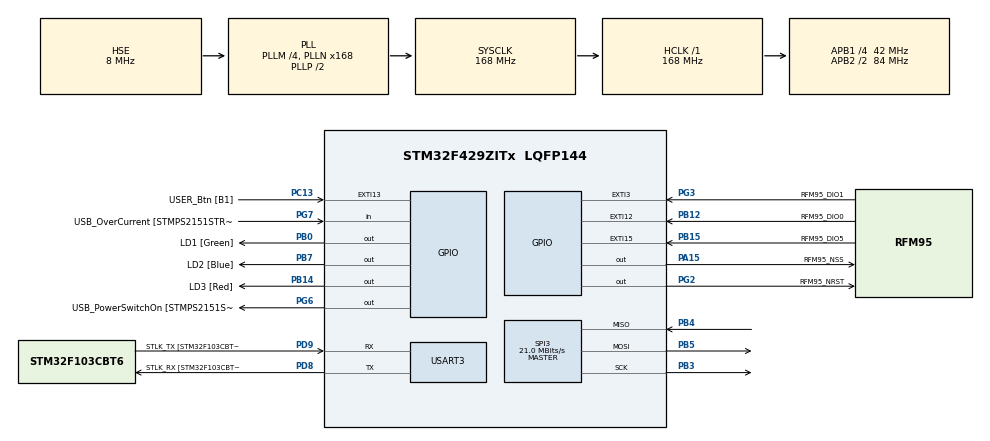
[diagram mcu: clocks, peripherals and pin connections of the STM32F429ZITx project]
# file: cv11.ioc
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Mcu.Family=STM32F4
Mcu.Name=STM32F429ZITx
Mcu.Package=LQFP144
NVIC.EXTI15_10_IRQn=true\:0\:0\:false\:false\:true\:true\:true\:true
NVIC.EXTI3_IRQn=true\:0\:0\:false\:false\:true\:true\:true\:true
NVIC.PriorityGroup=NVIC_PRIORITYGROUP_4
PA1.GPIO_Label=RMII_REF_CLK [LAN8742A-CZ-TR_REFCLK0]
PA1.Signal=ETH_REF_CLK
PA10.GPIO_Label=USB_ID
PA10.Signal=USB_OTG_FS_ID
PA11.GPIO_Label=USB_DM
PA11.Signal=USB_OTG_FS_DM
PA12.GPIO_Label=USB_DP
PA12.Signal=USB_OTG_FS_DP
PA13.GPIO_Label=TMS
PA13.Mode=Serial_Wire
PA13.Signal=SYS_JTMS-SWDIO
PA14.GPIO_Label=TCK
PA14.Mode=Serial_Wire
PA14.Signal=SYS_JTCK-SWCLK
PA15.GPIO_Label=RFM95_NSS
PA15.Signal=GPIO_Output
PA2.GPIO_Label=RMII_MDIO [LAN8742A-CZ-TR_MDIO]
PA2.Signal=ETH_MDIO
PA7.GPIO_Label=RMII_CRS_DV [LAN8742A-CZ-TR_CRS_DV]
PA7.Signal=ETH_CRS_DV
PA8.GPIO_Label=USB_SOF [TP1]
PA8.Signal=USB_OTG_FS_SOF
PA9.GPIO_Label=USB_VBUS
PA9.Signal=USB_OTG_FS_VBUS
PB0.GPIO_Label=LD1 [Green]
PB0.Signal=GPIO_Output
PB12.GPIO_Label=RFM95_DIO0
PB12.Signal=GPXTI12
PB13.GPIO_Label=RMII_TXD1 [LAN8742A-CZ-TR_TXD1]
PB13.Signal=ETH_TXD1
PB14.GPIO_Label=LD3 [Red]
PB14.Signal=GPIO_Output
PB15.GPIO_Label=RFM95_DIO5
PB15.Signal=GPXTI15
PB3.Mode=Full_Duplex_Master
PB3.Signal=SPI3_SCK
PB4.Mode=Full_Duplex_Master
PB4.Signal=SPI3_MISO
PB5.Mode=Full_Duplex_Master
PB5.Signal=SPI3_MOSI
PB7.GPIO_Label=LD2 [Blue]
PB7.Signal=GPIO_Output
PC1.GPIO_Label=RMII_MDC [LAN8742A-CZ-TR_MDC]
PC1.Signal=ETH_MDC
PC13.GPIO_Label=USER_Btn [B1]
PC13.Signal=GPXTI13
PC14/OSC32_IN.Mode=LSE-External-Oscillator
PC14/OSC32_IN.Signal=RCC_OSC32_IN
PC15/OSC32_OUT.Mode=LSE-External-Oscillator
PC15/OSC32_OUT.Signal=RCC_OSC32_OUT
PC4.GPIO_Label=RMII_RXD0 [LAN8742A-CZ-TR_RXD0]
PC4.Signal=ETH_RXD0
PC5.GPIO_Label=RMII_RXD1 [LAN8742A-CZ-TR_RXD1]
PC5.Signal=ETH_RXD1
PD8.GPIO_Label=STLK_RX [STM32F103CBT6_PA3]
PD8.Mode=Asynchronous
PD8.Signal=USART3_TX
PD9.GPIO_Label=STLK_TX [STM32F103CBT6_PA2]
PD9.Mode=Asynchronous
PD9.Signal=USART3_RX
PG11.GPIO_Label=RMII_TX_EN [LAN8742A-CZ-TR_TXEN]
PG11.Signal=ETH_TX_EN
PG13.GPIO_Label=RMII_TXD0 [LAN8742A-CZ-TR_TXD0]
PG13.Signal=ETH_TXD0
PG2.GPIO_Label=RFM95_NRST
PG2.Signal=GPIO_Output
PG3.GPIO_Label=RFM95_DIO1
PG3.Signal=GPXTI3
PG6.GPIO_Label=USB_PowerSwitchOn [STMPS2151STR_EN]
PG6.Signal=GPIO_Output
PG7.GPIO_Label=USB_OverCurrent [STMPS2151STR_FAULT]
PG7.Signal=GPIO_Input
PH0/OSC_IN.GPIO_Label=MCO [STM32F103CBT6_PA8]
PH0/OSC_IN.Mode=HSE-External-Clock-Source
PH0/OSC_IN.Signal=RCC_OSC_IN
PH1/OSC_OUT.Mode=HSE-External-Clock-Source
PH1/OSC_OUT.Signal=RCC_OSC_OUT
ProjectManager.HeapSize=0x200
ProjectManager.StackSize=0x400
ProjectManager.TargetToolchain=STM32CubeIDE
RCC.48MHZClocksFreq_Value=48000000
RCC.AHBFreq_Value=168000000
RCC.APB1CLKDivider=RCC_HCLK_DIV4
RCC.APB1Freq_Value=42000000
RCC.APB1TimFreq_Value=84000000
RCC.APB2CLKDivider=RCC_HCLK_DIV2
RCC.APB2Freq_Value=84000000
RCC.APB2TimCLKDivider=2
RCC.APB2TimFreq_Value=168000000
RCC.CortexFreq_Value=168000000
RCC.HCLKFreq_Value=168000000
RCC.HSE_VALUE=8000000
RCC.HSI_VALUE=16000000
RCC.PLLM=4
RCC.PLLMUL=RCC_PLL_MUL9
RCC.PLLN=168
RCC.PLLQ=7
RCC.PLLSourceVirtual=RCC_PLLSOURCE_HSE
RCC.PRESCALERUSB=RCC_USBCLKSOURCE_PLL_DIV1_5
RCC.SYSCLKFreq_VALUE=168000000
RCC.SYSCLKSource=RCC_SYSCLKSOURCE_PLLCLK
RCC.SYSCLKSourceVirtual=RCC_SYSCLKSOURCE_PLLCLK
RCC.USBFreq_Value=48000000
RCC.VCOOutputFreq_Value=336000000
SPI3.CalculateBaudRate=21.0 MBits/s
SPI3.Direction=SPI_DIRECTION_2LINES
SPI3.Mode=SPI_MODE_MASTER
SPI3.VirtualType=VM_MASTER
TIM2.Prescaler=4199
USART3.VirtualMode=VM_ASYNC
VP_RNG_VS_RNG.Mode=RNG_Activate
VP_TIM2_VS_ClockSourceINT.Mode=Internal
board=NUCLEO-F429ZI

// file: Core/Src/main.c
/* USER CODE BEGIN Header */
/**
  ******************************************************************************
  * @file           : main.c
  * @brief          : Main program body
  ******************************************************************************
  * @attention
  *
  * Copyright (c) 2025 STMicroelectronics.
  * All rights reserved.
  *
  * This software is licensed under terms that can be found in the LICENSE file
  * in the root directory of this software component.
  * If no LICENSE file comes with this software, it is provided AS-IS.
  *
  ******************************************************************************
  */
/* USER CODE END Header */
#include "main.h"

/* USER CODE BEGIN Includes */
#include <stdio.h>
#include <string.h>
#include "rfm95.h"
/* USER CODE END Includes */

/* USER CODE BEGIN PD */
#define TX_PERIOD 30000
/* USER CODE END PD */

RNG_HandleTypeDef hrng;

SPI_HandleTypeDef hspi3;

TIM_HandleTypeDef htim2;

UART_HandleTypeDef huart3;

void SystemClock_Config(void);
static void MX_GPIO_Init(void);
static void MX_USART3_UART_Init(void);
static void MX_SPI3_Init(void);
static void MX_TIM2_Init(void);
static void MX_RNG_Init(void);
/* USER CODE BEGIN PFP */
static uint32_t get_precision_tick();
static void precision_sleep_until(uint32_t target_ticks);
static uint8_t random_int(uint8_t max);
/* USER CODE END PFP */

/* USER CODE BEGIN 0 */
rfm95_handle_t rfm95_handle = {
	.spi_handle = &hspi3,
	.nss_port = RFM95_NSS_GPIO_Port,
	.nss_pin = RFM95_NSS_Pin,
	.nrst_port = RFM95_NRST_GPIO_Port,
	.nrst_pin = RFM95_NRST_Pin,
	.device_address = {
		  0x26, 0x0B, 0x04, 0x81
	 },
	.application_session_key = {
		  0x40, 0x0A, 0xE6, 0x65, 0x1A, 0xA8, 0x92, 0x92, 0x12, 0xC0, 0x08, 0xEC, 0xC2, 0xC1, 0x53, 0x72
	 },
	.network_session_key = {
		  0x80, 0x70, 0x52, 0xDA, 0x22, 0x5F, 0x54, 0xC3, 0xB8, 0xDC, 0xAD, 0xA1, 0x8A, 0xF2, 0x85, 0x34
	 },
	.receive_mode = RFM95_RECEIVE_MODE_NONE,
	.precision_tick_frequency = 20000,
	.get_precision_tick = get_precision_tick,
	.precision_sleep_until = precision_sleep_until,
	.random_int = random_int
  };
/* USER CODE END 0 */

int main(void)
{

  /* MCU Configuration--------------------------------------------------------*/

  /* Reset of all peripherals, Initializes the Flash interface and the Systick. */
  HAL_Init();

  /* Configure the system clock */
  SystemClock_Config();

  /* Initialize all configured peripherals */
  MX_GPIO_Init();
  MX_USART3_UART_Init();
  MX_SPI3_Init();
  MX_TIM2_Init();
  MX_RNG_Init();
  /* USER CODE BEGIN 2 */
  HAL_TIM_Base_Start(&htim2);

  // Initialise RFM95 module.
  if (!rfm95_init(&rfm95_handle)) {
	  HAL_GPIO_WritePin(LD3_GPIO_Port, LD3_Pin, 1);
	  while(1)
	  {

	  }
  }

  /* USER CODE END 2 */

  /* Infinite loop */
  /* USER CODE BEGIN WHILE */
  char buffer[12];
  uint32_t counter = 1;
  uint32_t prev_ticks = HAL_GetTick();
  uint32_t prev_button_ticks = HAL_GetTick();
  while (1)
  {
	  if (((HAL_GetTick() - prev_ticks) >= TX_PERIOD) && ((HAL_GetTick() - prev_button_ticks) >= 5000))
	  {
		  sprintf(buffer, "247821;%lu", counter++);
		  HAL_GPIO_WritePin(LD2_GPIO_Port, LD2_Pin, 1);
		  rfm95_send_receive_cycle(&rfm95_handle, (uint8_t*)buffer, strlen(buffer));
		  HAL_GPIO_WritePin(LD2_GPIO_Port, LD2_Pin, 0);
		  prev_ticks = HAL_GetTick();
	  }

	  if ((HAL_GPIO_ReadPin(USER_Btn_GPIO_Port, USER_Btn_Pin) == 1) && ((HAL_GetTick() - prev_button_ticks) >= 5000))
	  {
		  sprintf(buffer, "247821;press");
		  HAL_GPIO_WritePin(LD2_GPIO_Port, LD2_Pin, 1);
		  rfm95_send_receive_cycle(&rfm95_handle, (uint8_t*)buffer, strlen(buffer));
		  HAL_GPIO_WritePin(LD2_GPIO_Port, LD2_Pin, 0);
		  prev_button_ticks = HAL_GetTick();
	  }

    /* USER CODE END WHILE */

  }
}

void SystemClock_Config(void)
{
  RCC_OscInitTypeDef RCC_OscInitStruct = {0};
  RCC_ClkInitTypeDef RCC_ClkInitStruct = {0};

  /** Configure the main internal regulator output voltage
  */
  __HAL_RCC_PWR_CLK_ENABLE();
  __HAL_PWR_VOLTAGESCALING_CONFIG(PWR_REGULATOR_VOLTAGE_SCALE1);

  /** Initializes the RCC Oscillators according to the specified parameters
  * in the RCC_OscInitTypeDef structure.
  */
  RCC_OscInitStruct.OscillatorType = RCC_OSCILLATORTYPE_HSE;
  RCC_OscInitStruct.HSEState = RCC_HSE_BYPASS;
  RCC_OscInitStruct.PLL.PLLState = RCC_PLL_ON;
  RCC_OscInitStruct.PLL.PLLSource = RCC_PLLSOURCE_HSE;
  RCC_OscInitStruct.PLL.PLLM = 4;
  RCC_OscInitStruct.PLL.PLLN = 168;
  RCC_OscInitStruct.PLL.PLLP = RCC_PLLP_DIV2;
  RCC_OscInitStruct.PLL.PLLQ = 7;
  if (HAL_RCC_OscConfig(&RCC_OscInitStruct) != HAL_OK)
  {
    Error_Handler();
  }

  /** Initializes the CPU, AHB and APB buses clocks
  */
  RCC_ClkInitStruct.ClockType = RCC_CLOCKTYPE_HCLK|RCC_CLOCKTYPE_SYSCLK
                              |RCC_CLOCKTYPE_PCLK1|RCC_CLOCKTYPE_PCLK2;
  RCC_ClkInitStruct.SYSCLKSource = RCC_SYSCLKSOURCE_PLLCLK;
  RCC_ClkInitStruct.AHBCLKDivider = RCC_SYSCLK_DIV1;
  RCC_ClkInitStruct.APB1CLKDivider = RCC_HCLK_DIV4;
  RCC_ClkInitStruct.APB2CLKDivider = RCC_HCLK_DIV2;

  if (HAL_RCC_ClockConfig(&RCC_ClkInitStruct, FLASH_LATENCY_5) != HAL_OK)
  {
    Error_Handler();
  }
}

static void MX_RNG_Init(void)
{

  hrng.Instance = RNG;
  if (HAL_RNG_Init(&hrng) != HAL_OK)
  {
    Error_Handler();
  }

}

static void MX_SPI3_Init(void)
{

  /* SPI3 parameter configuration*/
  hspi3.Instance = SPI3;
  hspi3.Init.Mode = SPI_MODE_MASTER;
  hspi3.Init.Direction = SPI_DIRECTION_2LINES;
  hspi3.Init.DataSize = SPI_DATASIZE_8BIT;
  hspi3.Init.CLKPolarity = SPI_POLARITY_LOW;
  hspi3.Init.CLKPhase = SPI_PHASE_1EDGE;
  hspi3.Init.NSS = SPI_NSS_SOFT;
  hspi3.Init.BaudRatePrescaler = SPI_BAUDRATEPRESCALER_2;
  hspi3.Init.FirstBit = SPI_FIRSTBIT_MSB;
  hspi3.Init.TIMode = SPI_TIMODE_DISABLE;
  hspi3.Init.CRCCalculation = SPI_CRCCALCULATION_DISABLE;
  hspi3.Init.CRCPolynomial = 10;
  if (HAL_SPI_Init(&hspi3) != HAL_OK)
  {
    Error_Handler();
  }

}

static void MX_TIM2_Init(void)
{

  TIM_ClockConfigTypeDef sClockSourceConfig = {0};
  TIM_MasterConfigTypeDef sMasterConfig = {0};

  htim2.Instance = TIM2;
  htim2.Init.Prescaler = 4199;
  htim2.Init.CounterMode = TIM_COUNTERMODE_UP;
  htim2.Init.Period = 4294967295;
  htim2.Init.ClockDivision = TIM_CLOCKDIVISION_DIV1;
  htim2.Init.AutoReloadPreload = TIM_AUTORELOAD_PRELOAD_DISABLE;
  if (HAL_TIM_Base_Init(&htim2) != HAL_OK)
  {
    Error_Handler();
  }
  sClockSourceConfig.ClockSource = TIM_CLOCKSOURCE_INTERNAL;
  if (HAL_TIM_ConfigClockSource(&htim2, &sClockSourceConfig) != HAL_OK)
  {
    Error_Handler();
  }
  sMasterConfig.MasterOutputTrigger = TIM_TRGO_RESET;
  sMasterConfig.MasterSlaveMode = TIM_MASTERSLAVEMODE_DISABLE;
  if (HAL_TIMEx_MasterConfigSynchronization(&htim2, &sMasterConfig) != HAL_OK)
  {
    Error_Handler();
  }

}

static void MX_USART3_UART_Init(void)
{

  huart3.Instance = USART3;
  huart3.Init.BaudRate = 115200;
  huart3.Init.WordLength = UART_WORDLENGTH_8B;
  huart3.Init.StopBits = UART_STOPBITS_1;
  huart3.Init.Parity = UART_PARITY_NONE;
  huart3.Init.Mode = UART_MODE_TX_RX;
  huart3.Init.HwFlowCtl = UART_HWCONTROL_NONE;
  huart3.Init.OverSampling = UART_OVERSAMPLING_16;
  if (HAL_UART_Init(&huart3) != HAL_OK)
  {
    Error_Handler();
  }

}

static void MX_GPIO_Init(void)
{
  GPIO_InitTypeDef GPIO_InitStruct = {0};

  /* GPIO Ports Clock Enable */
  __HAL_RCC_GPIOC_CLK_ENABLE();
  __HAL_RCC_GPIOH_CLK_ENABLE();
  __HAL_RCC_GPIOA_CLK_ENABLE();
  __HAL_RCC_GPIOB_CLK_ENABLE();
  __HAL_RCC_GPIOD_CLK_ENABLE();
  __HAL_RCC_GPIOG_CLK_ENABLE();

  /*Configure GPIO pin Output Level */
  HAL_GPIO_WritePin(GPIOB, LD1_Pin|LD3_Pin|LD2_Pin, GPIO_PIN_RESET);

  /*Configure GPIO pin Output Level */
  HAL_GPIO_WritePin(GPIOG, RFM95_NRST_Pin|USB_PowerSwitchOn_Pin, GPIO_PIN_RESET);

  /*Configure GPIO pin Output Level */
  HAL_GPIO_WritePin(RFM95_NSS_GPIO_Port, RFM95_NSS_Pin, GPIO_PIN_RESET);

  /*Configure GPIO pin : USER_Btn_Pin */
  GPIO_InitStruct.Pin = USER_Btn_Pin;
  GPIO_InitStruct.Mode = GPIO_MODE_IT_RISING;
  GPIO_InitStruct.Pull = GPIO_NOPULL;
  HAL_GPIO_Init(USER_Btn_GPIO_Port, &GPIO_InitStruct);

  /*Configure GPIO pins : RMII_MDC_Pin RMII_RXD0_Pin RMII_RXD1_Pin */
  GPIO_InitStruct.Pin = RMII_MDC_Pin|RMII_RXD0_Pin|RMII_RXD1_Pin;
  GPIO_InitStruct.Mode = GPIO_MODE_AF_PP;
  GPIO_InitStruct.Pull = GPIO_NOPULL;
  GPIO_InitStruct.Speed = GPIO_SPEED_FREQ_VERY_HIGH;
  GPIO_InitStruct.Alternate = GPIO_AF11_ETH;
  HAL_GPIO_Init(GPIOC, &GPIO_InitStruct);

  /*Configure GPIO pins : RMII_REF_CLK_Pin RMII_MDIO_Pin RMII_CRS_DV_Pin */
  GPIO_InitStruct.Pin = RMII_REF_CLK_Pin|RMII_MDIO_Pin|RMII_CRS_DV_Pin;
  GPIO_InitStruct.Mode = GPIO_MODE_AF_PP;
  GPIO_InitStruct.Pull = GPIO_NOPULL;
  GPIO_InitStruct.Speed = GPIO_SPEED_FREQ_VERY_HIGH;
  GPIO_InitStruct.Alternate = GPIO_AF11_ETH;
  HAL_GPIO_Init(GPIOA, &GPIO_InitStruct);

  /*Configure GPIO pins : LD1_Pin LD3_Pin LD2_Pin */
  GPIO_InitStruct.Pin = LD1_Pin|LD3_Pin|LD2_Pin;
  GPIO_InitStruct.Mode = GPIO_MODE_OUTPUT_PP;
  GPIO_InitStruct.Pull = GPIO_NOPULL;
  GPIO_InitStruct.Speed = GPIO_SPEED_FREQ_LOW;
  HAL_GPIO_Init(GPIOB, &GPIO_InitStruct);

  /*Configure GPIO pins : RFM95_DIO0_Pin RFM95_DIO5_Pin */
  GPIO_InitStruct.Pin = RFM95_DIO0_Pin|RFM95_DIO5_Pin;
  GPIO_InitStruct.Mode = GPIO_MODE_IT_RISING;
  GPIO_InitStruct.Pull = GPIO_NOPULL;
  HAL_GPIO_Init(GPIOB, &GPIO_InitStruct);

  /*Configure GPIO pin : RMII_TXD1_Pin */
  GPIO_InitStruct.Pin = RMII_TXD1_Pin;
  GPIO_InitStruct.Mode = GPIO_MODE_AF_PP;
  GPIO_InitStruct.Pull = GPIO_NOPULL;
  GPIO_InitStruct.Speed = GPIO_SPEED_FREQ_VERY_HIGH;
  GPIO_InitStruct.Alternate = GPIO_AF11_ETH;
  HAL_GPIO_Init(RMII_TXD1_GPIO_Port, &GPIO_InitStruct);

  /*Configure GPIO pins : RFM95_NRST_Pin USB_PowerSwitchOn_Pin */
  GPIO_InitStruct.Pin = RFM95_NRST_Pin|USB_PowerSwitchOn_Pin;
  GPIO_InitStruct.Mode = GPIO_MODE_OUTPUT_PP;
  GPIO_InitStruct.Pull = GPIO_NOPULL;
  GPIO_InitStruct.Speed = GPIO_SPEED_FREQ_LOW;
  HAL_GPIO_Init(GPIOG, &GPIO_InitStruct);

  /*Configure GPIO pin : RFM95_DIO1_Pin */
  GPIO_InitStruct.Pin = RFM95_DIO1_Pin;
  GPIO_InitStruct.Mode = GPIO_MODE_IT_RISING;
  GPIO_InitStruct.Pull = GPIO_NOPULL;
  HAL_GPIO_Init(RFM95_DIO1_GPIO_Port, &GPIO_InitStruct);

  /*Configure GPIO pin : USB_OverCurrent_Pin */
  GPIO_InitStruct.Pin = USB_OverCurrent_Pin;
  GPIO_InitStruct.Mode = GPIO_MODE_INPUT;
  GPIO_InitStruct.Pull = GPIO_NOPULL;
  HAL_GPIO_Init(USB_OverCurrent_GPIO_Port, &GPIO_InitStruct);

  /*Configure GPIO pins : USB_SOF_Pin USB_ID_Pin USB_DM_Pin USB_DP_Pin */
  GPIO_InitStruct.Pin = USB_SOF_Pin|USB_ID_Pin|USB_DM_Pin|USB_DP_Pin;
  GPIO_InitStruct.Mode = GPIO_MODE_AF_PP;
  GPIO_InitStruct.Pull = GPIO_NOPULL;
  GPIO_InitStruct.Speed = GPIO_SPEED_FREQ_VERY_HIGH;
  GPIO_InitStruct.Alternate = GPIO_AF10_OTG_FS;
  HAL_GPIO_Init(GPIOA, &GPIO_InitStruct);

  /*Configure GPIO pin : USB_VBUS_Pin */
  GPIO_InitStruct.Pin = USB_VBUS_Pin;
  GPIO_InitStruct.Mode = GPIO_MODE_INPUT;
  GPIO_InitStruct.Pull = GPIO_NOPULL;
  HAL_GPIO_Init(USB_VBUS_GPIO_Port, &GPIO_InitStruct);

  /*Configure GPIO pin : RFM95_NSS_Pin */
  GPIO_InitStruct.Pin = RFM95_NSS_Pin;
  GPIO_InitStruct.Mode = GPIO_MODE_OUTPUT_PP;
  GPIO_InitStruct.Pull = GPIO_NOPULL;
  GPIO_InitStruct.Speed = GPIO_SPEED_FREQ_LOW;
  HAL_GPIO_Init(RFM95_NSS_GPIO_Port, &GPIO_InitStruct);

  /*Configure GPIO pins : RMII_TX_EN_Pin RMII_TXD0_Pin */
  GPIO_InitStruct.Pin = RMII_TX_EN_Pin|RMII_TXD0_Pin;
  GPIO_InitStruct.Mode = GPIO_MODE_AF_PP;
  GPIO_InitStruct.Pull = GPIO_NOPULL;
  GPIO_InitStruct.Speed = GPIO_SPEED_FREQ_VERY_HIGH;
  GPIO_InitStruct.Alternate = GPIO_AF11_ETH;
  HAL_GPIO_Init(GPIOG, &GPIO_InitStruct);

  /* EXTI interrupt init*/
  HAL_NVIC_SetPriority(EXTI3_IRQn, 0, 0);
  HAL_NVIC_EnableIRQ(EXTI3_IRQn);

  HAL_NVIC_SetPriority(EXTI15_10_IRQn, 0, 0);
  HAL_NVIC_EnableIRQ(EXTI15_10_IRQn);

}

/* USER CODE BEGIN 4 */
static uint32_t get_precision_tick()
{
    return __HAL_TIM_GET_COUNTER(&htim2);
}

static void precision_sleep_until(uint32_t target_ticks)
{
	while (get_precision_tick() < target_ticks) { /* do nothing */ }
}

static uint8_t random_int(uint8_t max)
{
	uint32_t rng;
	HAL_RNG_GenerateRandomNumber(&hrng, &rng);
	return (rng % (max + 1));
}

void HAL_GPIO_EXTI_Callback(uint16_t GPIO_Pin)
{
    if (GPIO_Pin == RFM95_DIO0_Pin) {
        rfm95_on_interrupt(&rfm95_handle, RFM95_INTERRUPT_DIO0);
    } else if (GPIO_Pin == RFM95_DIO1_Pin) {
        rfm95_on_interrupt(&rfm95_handle, RFM95_INTERRUPT_DIO1);
    } else if (GPIO_Pin == RFM95_DIO5_Pin) {
        rfm95_on_interrupt(&rfm95_handle, RFM95_INTERRUPT_DIO5);
    }
}
/* USER CODE END 4 */

void Error_Handler(void)
{
  __disable_irq();
  while (1)
  {
  }
}
